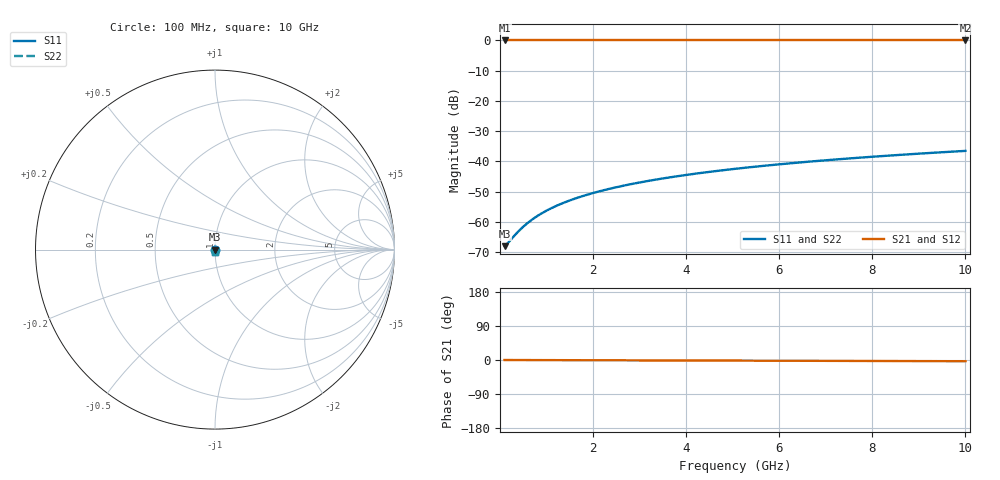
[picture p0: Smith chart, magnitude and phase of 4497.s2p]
# Hz S RI R 50.00
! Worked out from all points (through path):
!   100 points, 100 MHz to 10 GHz, reference 50 ohm
!   highest |S21| = 0.00 dB at 100 MHz (marker M1); lowest = 0.0 dB at 10 GHz (marker M2)
!   lowest |S11| = -68.0 dB at 100 MHz (marker M3), VSWR 1.00, Z = 50 - j0.015 ohm
!   |S11| at or under -10 dB: start of sweep to end of sweep
!   |S22| runs from -68.0 to -36.5 dB; largest |S21 - S12| = 0
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1e8  0.000369 -0.000149  0.9996 -0.000565  0.9996 -0.000565  0.000369 -0.000149
2e8  0.000371 -0.000299  0.9996 -0.00113  0.9996 -0.00113  0.000371 -0.000299
4e8  0.000373 -0.000598  0.9996 -0.00226  0.9996 -0.00226  0.000373 -0.000598
5e8  0.000373 -0.000747  0.9996 -0.00282  0.9996 -0.00282  0.000373 -0.000747
6e8  0.000373 -0.000896  0.9996 -0.00339  0.9996 -0.00339  0.000373 -0.000896
7e8  0.000373 -0.00105  0.9996 -0.00395  0.9996 -0.00395  0.000373 -0.00105
8e8  0.000372 -0.0012  0.9996 -0.00452  0.9996 -0.00452  0.000372 -0.0012
1e9  0.00037 -0.00149  0.9996 -0.00565  0.9996 -0.00565  0.00037 -0.00149
1.2e9  0.000367 -0.00179  0.9996 -0.00678  0.9996 -0.00678  0.000367 -0.00179
1.5e9  0.000361 -0.00224  0.9996 -0.00847  0.9996 -0.00847  0.000361 -0.00224
1.8e9  0.000354 -0.00269  0.9996 -0.0102  0.9996 -0.0102  0.000354 -0.00269
2.1e9  0.000345 -0.00314  0.9995 -0.0119  0.9995 -0.0119  0.000345 -0.00314
2.5e9  0.00033 -0.00374  0.9995 -0.0141  0.9995 -0.0141  0.00033 -0.00374
2.9e9  0.000312 -0.00433  0.9995 -0.0164  0.9995 -0.0164  0.000312 -0.00433
3.4e9  0.000286 -0.00508  0.9994 -0.0192  0.9994 -0.0192  0.000286 -0.00508
4.2e9  0.000236 -0.00628  0.9993 -0.0237  0.9993 -0.0237  0.000236 -0.00628
5.1e9  0.000166 -0.00762  0.9991 -0.0288  0.9991 -0.0288  0.000166 -0.00762
5.9e9  9.26e-05 -0.00882  0.999 -0.0333  0.999 -0.0333  9.26e-05 -0.00882
6.7e9  8.04e-06 -0.01  0.9988 -0.0379  0.9988 -0.0379  8.04e-06 -0.01
7.5e9  -8.74e-05 -0.0112  0.9986 -0.0424  0.9986 -0.0424  -8.74e-05 -0.0112
8.4e9  -0.000208 -0.0126  0.9983 -0.0475  0.9983 -0.0475  -0.000208 -0.0126
1e10  -0.000456 -0.015  0.9978 -0.0565  0.9978 -0.0565  -0.000456 -0.015
